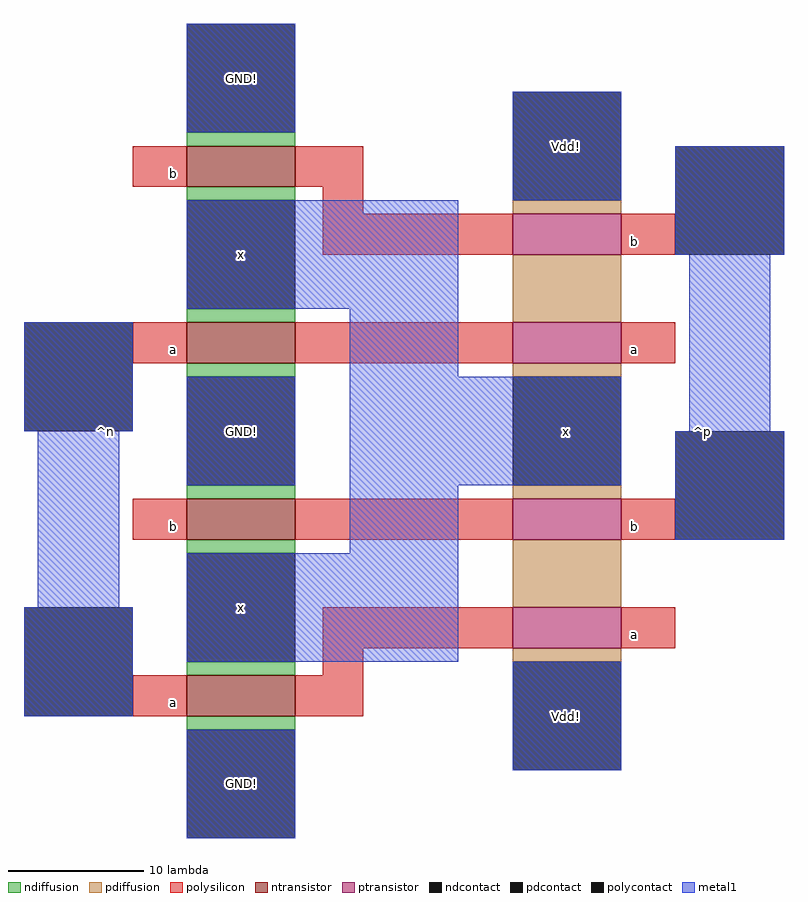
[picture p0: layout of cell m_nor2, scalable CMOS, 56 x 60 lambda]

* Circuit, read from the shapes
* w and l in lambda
.subckt m_nor2 GND! Vdd! a b x
M1 x a GND! VSUBS nfet w=8 l=3 m=2
M2 GND! b x VSUBS nfet w=8 l=3 m=2
M3 n1 a Vdd! NWELL pfet w=8 l=3
M4 x b n1 NWELL pfet w=8 l=3
M5 n2 a x NWELL pfet w=8 l=3
M6 Vdd! b n2 NWELL pfet w=8 l=3
.ends

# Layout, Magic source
magic
tech scmos
<< ndiffusion >>
rect -159 427 -151 428
rect -159 423 -151 424
rect -159 414 -151 415
rect -159 410 -151 411
rect -159 401 -151 402
rect -159 397 -151 398
rect -159 388 -151 389
rect -159 384 -151 385
<< pdiffusion >>
rect -135 422 -127 423
rect -135 414 -127 419
rect -135 410 -127 411
rect -135 401 -127 402
rect -135 393 -127 398
rect -135 389 -127 390
<< ntransistor >>
rect -159 424 -151 427
rect -159 411 -151 414
rect -159 398 -151 401
rect -159 385 -151 388
<< ptransistor >>
rect -135 419 -127 422
rect -135 411 -127 414
rect -135 398 -127 401
rect -135 390 -127 393
<< polysilicon >>
rect -163 424 -159 427
rect -151 424 -146 427
rect -149 422 -146 424
rect -149 419 -135 422
rect -127 419 -123 422
rect -163 411 -159 414
rect -151 411 -135 414
rect -127 411 -123 414
rect -163 398 -159 401
rect -151 398 -135 401
rect -127 398 -123 401
rect -149 390 -135 393
rect -127 390 -123 393
rect -149 388 -146 390
rect -163 385 -159 388
rect -151 385 -146 388
<< ndcontact >>
rect -159 428 -151 436
rect -159 415 -151 423
rect -159 402 -151 410
rect -159 389 -151 397
rect -159 376 -151 384
<< pdcontact >>
rect -135 423 -127 431
rect -135 402 -127 410
rect -135 381 -127 389
<< polycontact >>
rect -123 419 -115 427
rect -171 406 -163 414
rect -123 398 -115 406
rect -171 385 -163 393
<< metal1 >>
rect -159 428 -151 436
rect -135 423 -127 431
rect -159 415 -139 423
rect -123 419 -115 427
rect -171 406 -163 414
rect -147 410 -139 415
rect -170 393 -164 406
rect -159 402 -151 410
rect -147 402 -127 410
rect -122 406 -116 419
rect -147 397 -139 402
rect -123 398 -115 406
rect -171 385 -163 393
rect -159 389 -139 397
rect -159 376 -151 384
rect -135 381 -127 389
<< labels >>
rlabel metal1 -155 419 -155 419 1 x
rlabel polysilicon -126 412 -126 412 7 a
rlabel polysilicon -126 420 -126 420 7 b
rlabel polysilicon -160 425 -160 425 1 b
rlabel polysilicon -160 412 -160 412 1 a
rlabel metal1 -155 393 -155 393 5 x
rlabel polysilicon -126 399 -126 399 7 b
rlabel polysilicon -126 391 -126 391 7 a
rlabel polysilicon -160 386 -160 386 1 a
rlabel polysilicon -160 399 -160 399 1 b
rlabel metal1 -131 406 -131 406 5 x
rlabel metal1 -131 385 -131 385 1 Vdd!
rlabel metal1 -131 427 -131 427 1 Vdd!
rlabel metal1 -155 432 -155 432 5 GND!
rlabel metal1 -155 406 -155 406 1 GND!
rlabel metal1 -155 380 -155 380 1 GND!
rlabel space -172 375 -158 437 7 ^n
rlabel space -128 380 -114 432 3 ^p
<< end >>
